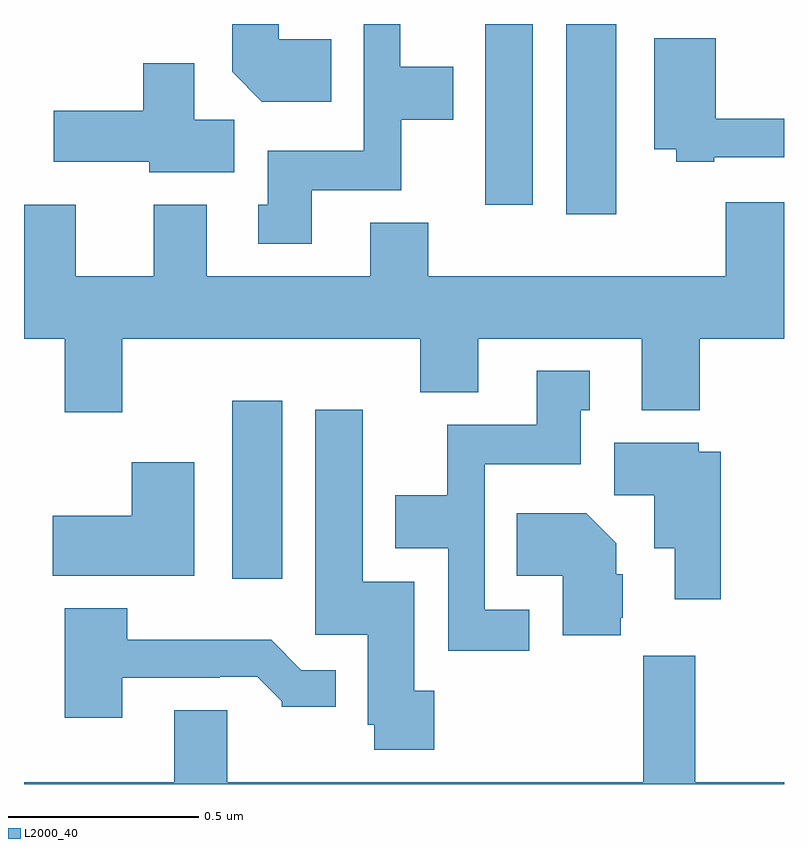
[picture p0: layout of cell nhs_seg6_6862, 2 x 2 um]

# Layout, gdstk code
import gdstk
lib = gdstk.Library(unit=1e-6, precision=1e-09)
def R(c, l, rs):  # rectangles x0, y0, x1, y1
    for r in rs: c.add(gdstk.rectangle(r[:2], r[2:], *l))
def P(c, l, *ps):  # polygons
    for p in ps: c.add(gdstk.Polygon(p, *l))
L2000_40 = (2000, 40)

nhs_seg6_6862 = lib.new_cell('nhs_seg6_6862')
R(nhs_seg6_6862, L2000_40, [(201.548,944.04,201.679,944.509), (202.427,945,202.558,945.5), (202.214,945.024,202.339,945.5)])
P(nhs_seg6_6862, L2000_40, [(201.809,945.46),(201.67,945.46),(201.67,945.5),(201.548,945.5),(201.548,945.374),(201.626,945.296),(201.809,945.296)],
  [(201.757,945.062),(201.993,945.062),(201.993,945.248),(202.129,945.248),(202.129,945.388),(201.99,945.388),(201.99,945.5),(201.894,945.5),(201.894,945.166),(201.641,945.166),(201.641,945.024),(201.617,945.024),(201.617,944.922),(201.757,944.922)],
  [(202.816,945.15),(203,945.15),(203,945.251),(202.82,945.251),(202.82,945.463),(202.658,945.463),(202.658,945.17),(202.716,945.17),(202.716,945.138),(202.816,945.138)],
  [(201.553,945.248),(201.448,945.248),(201.448,945.397),(201.314,945.397),(201.314,945.272),(201.078,945.272),(201.078,945.137),(201.33,945.137),(201.33,945.11),(201.553,945.11)],
  [(201.259,944.672),(202.043,944.672),(202.043,944.531),(202.195,944.531),(202.195,944.672),(202.625,944.672),(202.625,944.483),(202.778,944.483),(202.778,944.672),(203,944.672),(203,945.031),(202.847,945.031),(202.847,944.836),(202.064,944.836),(202.064,944.977),(201.911,944.977),(201.911,944.836),(201.481,944.836),(201.481,945.025),(201.341,945.025),(201.341,944.836),(201.136,944.836),(201.136,945.025),(201,945.025),(201,944.672),(201.107,944.672),(201.107,944.478),(201.259,944.478)],
  [(202.33,943.959),(202.212,943.959),(202.212,944.342),(202.465,944.342),(202.465,944.484),(202.489,944.484),(202.489,944.587),(202.349,944.587),(202.349,944.446),(202.114,944.446),(202.114,944.26),(201.977,944.26),(201.977,944.12),(202.116,944.12),(202.116,943.851),(202.33,943.851)],
  [(202.079,943.746),(202.027,943.746),(202.027,944.032),(201.892,944.032),(201.892,944.485),(201.767,944.485),(201.767,943.893),(201.905,943.893),(201.905,943.656),(201.922,943.656),(201.922,943.59),(202.079,943.59)],
  [(202.834,944.374),(202.776,944.374),(202.776,944.398),(202.553,944.398),(202.553,944.26),(202.658,944.26),(202.658,944.12),(202.712,944.12),(202.712,943.986),(202.834,943.986)],
  [(201.448,944.347),(201.284,944.347),(201.284,944.206),(201.075,944.206),(201.075,944.048),(201.448,944.048)],
  [(202.57,943.938),(202.576,943.938),(202.576,944.052),(202.558,944.052),(202.558,944.134),(202.48,944.212),(202.297,944.212),(202.297,944.048),(202.418,944.048),(202.418,943.891),(202.57,943.891)],
  [(201.259,943.779),(201.515,943.779),(201.515,943.782),(201.614,943.782),(201.678,943.718),(201.678,943.703),(201.82,943.703),(201.82,943.8),(201.729,943.8),(201.651,943.879),(201.272,943.879),(201.272,943.963),(201.107,943.963),(201.107,943.674),(201.259,943.674)],
  [(203,943.504),(202.766,943.504),(202.766,943.837),(202.63,943.837),(202.63,943.504),(201.535,943.504),(201.535,943.694),(201.395,943.694),(201.395,943.504),(201,943.504),(201,943.5),(203,943.5)])

lib.write_gds('nhs_seg6_6862.gds')
